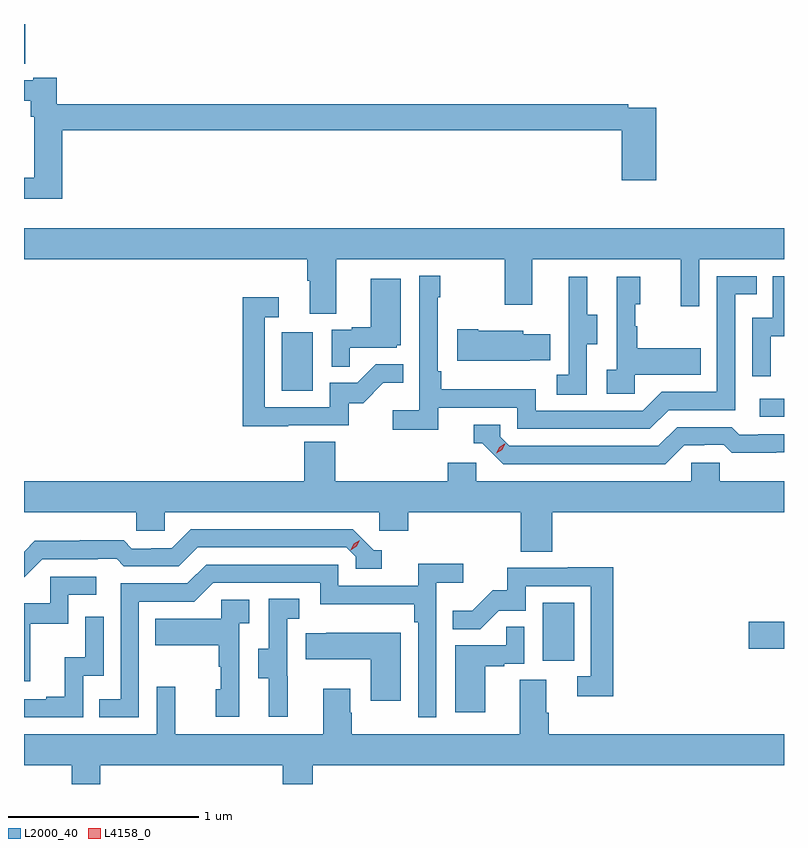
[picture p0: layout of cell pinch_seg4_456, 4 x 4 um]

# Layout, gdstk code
import gdstk
lib = gdstk.Library(unit=1e-6, precision=1e-09)
def R(c, l, rs):  # rectangles x0, y0, x1, y1
    for r in rs: c.add(gdstk.rectangle(r[:2], r[2:], *l))
def P(c, l, *ps):  # polygons
    for p in ps: c.add(gdstk.Polygon(p, *l))
L2000_40 = (2000, 40)
L4158_0 = (4158, 0)

pinch_seg4_456 = lib.new_cell('pinch_seg4_456')
R(pinch_seg4_456, L2000_40, [(914.168,785.382,914.332,785.689), (915.252,785.446,915.437,785.588), (915.309,786.666,915.437,786.762), (912.794,786.804,912.958,787.111), (911.437,788.524,911.444,788.734)])
P(pinch_seg4_456, L2000_40, [(911.639,788.176),(914.582,788.176),(914.582,787.911),(914.765,787.911),(914.765,788.292),(914.618,788.292),(914.618,788.312),(911.609,788.312),(911.609,788.452),(911.486,788.452),(911.486,788.439),(911.437,788.439),(911.437,788.331),(911.473,788.331),(911.473,788.246),(911.492,788.246),(911.492,787.924),(911.437,787.924),(911.437,787.814),(911.639,787.814)],
  [(913.081,787.496),(913.966,787.496),(913.966,787.257),(914.113,787.257),(914.113,787.496),(914.894,787.496),(914.894,787.248),(914.991,787.248),(914.991,787.496),(915.437,787.496),(915.437,787.66),(911.437,787.66),(911.437,787.496),(912.929,787.496),(912.929,787.384),(912.941,787.384),(912.941,787.21),(913.081,787.21)],
  [(913.616,786.714),(914.034,786.714),(914.034,786.603),(914.731,786.603),(914.83,786.702),(915.18,786.702),(915.18,787.311),(915.293,787.311),(915.293,787.407),(915.084,787.407),(915.084,786.798),(914.793,786.798),(914.694,786.699),(914.13,786.699),(914.13,786.811),(913.634,786.811),(913.634,786.907),(913.614,786.907),(913.614,787.295),(913.627,787.295),(913.627,787.408),(913.518,787.408),(913.518,786.7),(913.377,786.7),(913.377,786.598),(913.616,786.598)],
  [(915.366,787.091),(915.437,787.091),(915.437,787.407),(915.378,787.407),(915.378,787.188),(915.27,787.188),(915.27,786.879),(915.366,786.879)],
  [(914.4,787.048),(914.455,787.048),(914.455,787.203),(914.401,787.203),(914.401,787.405),(914.303,787.405),(914.303,787.191),(914.304,787.191),(914.304,786.887),(914.241,786.887),(914.241,786.784),(914.4,786.784)],
  [(914.652,786.887),(914.999,786.887),(914.999,787.027),(914.665,787.027),(914.665,787.142),(914.655,787.142),(914.655,787.26),(914.68,787.26),(914.68,787.405),(914.556,787.405),(914.556,786.914),(914.505,786.914),(914.505,786.789),(914.652,786.789)],
  [(913.151,787.029),(913.398,787.029),(913.398,787.044),(913.42,787.044),(913.42,787.393),(913.262,787.393),(913.262,787.138),(913.163,787.138),(913.163,787.125),(913.056,787.125),(913.056,786.931),(913.151,786.931)],
  [(912.827,786.621),(913.146,786.621),(913.146,786.738),(913.222,786.738),(913.329,786.845),(913.433,786.845),(913.433,786.944),(913.289,786.944),(913.191,786.846),(913.047,786.846),(913.047,786.717),(912.705,786.717),(912.705,787.191),(912.778,787.191),(912.778,787.297),(912.589,787.297),(912.589,786.616),(912.827,786.616)],
  [(914.099,786.965),(914.207,786.965),(914.207,787.102),(914.064,787.102),(914.064,787.12),(913.828,787.12),(913.828,787.128),(913.716,787.128),(913.716,786.962),(914.099,786.962)],
  [(914.911,786.516),(915.018,786.516),(915.018,786.519),(915.121,786.519),(915.163,786.477),(915.396,786.477),(915.396,786.479),(915.437,786.479),(915.437,786.576),(915.301,786.576),(915.301,786.573),(915.202,786.573),(915.163,786.612),(914.874,786.612),(914.775,786.513),(913.992,786.513),(913.944,786.561),(913.944,786.624),(913.805,786.624),(913.805,786.528),(913.848,786.528),(913.959,786.417),(914.812,786.417)],
  [(914.216,786.164),(915.437,786.164),(915.437,786.328),(915.099,786.328),(915.099,786.426),(914.949,786.426),(914.949,786.328),(913.818,786.328),(913.818,786.426),(913.667,786.426),(913.667,786.328),(913.076,786.328),(913.076,786.536),(912.911,786.536),(912.911,786.328),(911.437,786.328),(911.437,786.164),(912.027,786.164),(912.027,786.066),(912.177,786.066),(912.177,786.164),(913.308,786.164),(913.308,786.066),(913.46,786.066),(913.46,786.164),(914.051,786.164),(914.051,785.956),(914.216,785.956)],
  [(911.532,785.916),(911.825,785.916),(911.825,785.919),(911.924,785.919),(911.963,785.88),(912.252,785.88),(912.351,785.979),(913.134,785.979),(913.182,785.931),(913.182,785.868),(913.321,785.868),(913.321,785.964),(913.278,785.964),(913.167,786.075),(912.314,786.075),(912.215,785.976),(912.108,785.976),(912.108,785.973),(912.005,785.973),(911.963,786.016),(911.73,786.016),(911.73,786.013),(911.494,786.013),(911.437,785.956),(911.437,785.821)],
  [(912.042,785.694),(912.333,785.694),(912.432,785.793),(912.996,785.793),(912.996,785.681),(913.492,785.681),(913.492,785.585),(913.512,785.585),(913.512,785.085),(913.608,785.085),(913.608,785.792),(913.75,785.792),(913.75,785.894),(913.511,785.894),(913.511,785.778),(913.092,785.778),(913.092,785.889),(912.395,785.889),(912.296,785.79),(911.946,785.79),(911.946,785.181),(911.833,785.181),(911.833,785.085),(912.042,785.085)],
  [(914.537,785.876),(914.299,785.876),(914.299,785.871),(913.981,785.871),(913.981,785.754),(913.904,785.754),(913.797,785.647),(913.693,785.647),(913.693,785.548),(913.837,785.548),(913.935,785.646),(914.079,785.646),(914.079,785.775),(914.421,785.775),(914.421,785.301),(914.349,785.301),(914.349,785.196),(914.537,785.196)],
  [(911.471,785.577),(911.67,785.577),(911.67,785.73),(911.818,785.73),(911.818,785.826),(911.574,785.826),(911.574,785.685),(911.437,785.685),(911.437,785.274),(911.471,785.274)],
  [(912.824,785.301),(912.822,785.301),(912.822,785.605),(912.886,785.605),(912.886,785.708),(912.726,785.708),(912.726,785.445),(912.671,785.445),(912.671,785.29),(912.725,785.29),(912.725,785.088),(912.824,785.088)],
  [(912.57,785.579),(912.622,785.579),(912.622,785.703),(912.474,785.703),(912.474,785.605),(912.127,785.605),(912.127,785.465),(912.462,785.465),(912.462,785.351),(912.472,785.351),(912.472,785.232),(912.446,785.232),(912.446,785.088),(912.57,785.088)],
  [(911.748,785.304),(911.856,785.304),(911.856,785.614),(911.76,785.614),(911.76,785.402),(911.651,785.402),(911.651,785.194),(911.555,785.194),(911.555,785.181),(911.437,785.181),(911.437,785.085),(911.748,785.085)],
  [(913.864,785.355),(913.964,785.355),(913.964,785.367),(914.07,785.367),(914.07,785.561),(913.975,785.561),(913.975,785.463),(913.706,785.463),(913.706,785.112),(913.864,785.112)],
  [(913.42,785.53),(913.027,785.53),(913.027,785.527),(912.919,785.527),(912.919,785.39),(913.262,785.39),(913.262,785.172),(913.42,785.172)],
  [(911.839,784.832),(912.799,784.832),(912.799,784.734),(912.956,784.734),(912.956,784.832),(915.437,784.832),(915.437,784.996),(914.198,784.996),(914.198,785.108),(914.185,785.108),(914.185,785.282),(914.045,785.282),(914.045,784.996),(913.161,784.996),(913.161,785.108),(913.153,785.108),(913.153,785.236),(913.013,785.236),(913.013,784.996),(912.233,784.996),(912.233,785.245),(912.135,785.245),(912.135,784.996),(911.437,784.996),(911.437,784.832),(911.687,784.832),(911.687,784.734),(911.839,784.734)])
P(pinch_seg4_456, L4158_0, [(913.923,786.474),(913.923,786.474),(913.938,786.507),(913.968,786.526),(913.969,786.526),(913.969,786.526),(913.953,786.494),(913.923,786.474)],
  [(913.158,785.964),(913.158,785.965),(913.173,785.998),(913.203,786.018),(913.204,786.018),(913.204,786.018),(913.189,785.985),(913.158,785.964)])

lib.write_gds('pinch_seg4_456.gds')
